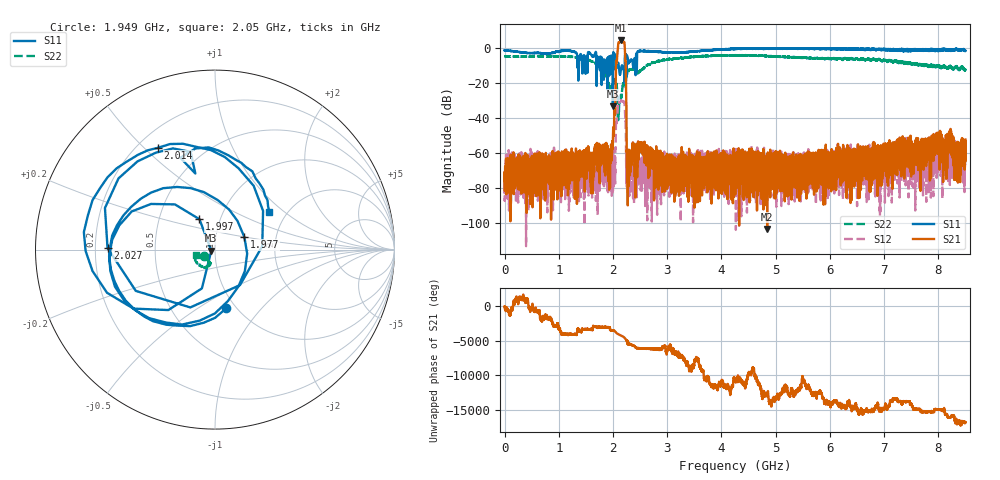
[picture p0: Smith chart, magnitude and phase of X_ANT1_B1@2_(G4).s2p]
#  HZ  S  RI  R  50.00
! Rohde & Schwarz Vector Network Analyzer
! Rohde-Schwarz,ZNBT8-20Port,1318700624101681,3.50
! Created: UTC 7/15/2025, 2:08:06 PM
! freq[Hz]  re:S1010  im:S1010  re:S0510  im:S0510  re:S1005  im:S1005  re:S55  im:S55
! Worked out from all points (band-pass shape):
!   8500 points, 1 MHz to 8.5 GHz, reference 50 ohm
!   highest |S21| = 4.08 dB at 2.145 GHz (marker M1); lowest = -103.5 dB at 4.844 GHz (marker M2)
!   |S21| within 3 dB of the highest: 2.093 GHz to 2.216 GHz (122.4 MHz wide, 5.68 % of centre)
!   lowest |S11| = -33.5 dB at 1.998 GHz (marker M3), VSWR 1.04, Z = 48 - j0.517 ohm
!   |S11| at or under -10 dB: 2.053 GHz to 2.083 GHz (30.46 MHz wide, 1.47 % of centre); 2.106 GHz to 2.214 GHz (108.6 MHz wide, 5.03 % of centre); 2.369 GHz to 2.383 GHz (14.74 MHz wide, 0.62 % of centre)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
!   |S22| runs from -41.4 to -4.2 dB; largest |S21 - S12| = 1.6
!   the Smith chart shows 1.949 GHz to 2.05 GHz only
!   S11 on the Smith chart (normalised r, x): 1.949 GHz: 0.91, -0.66; 1.977 GHz: 1.37, +0.20; 1.997 GHz: 0.80, +0.28; 2.014 GHz: 0.28, +0.55; 2.027 GHz: 0.25, +0.01; 2.05 GHz: 1.64, +0.78
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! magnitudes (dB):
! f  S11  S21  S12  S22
! 1 MHz  -1.6  -73.0  -71.5  -5.1
! 1.418 GHz  -5.0  -69.3  -68.2  -6.0
! 1.949 GHz  -9.6  -63.4  -68.5  -23.3
! 1.977 GHz  -15.0  -61.9  -84.5  -22.9
! 1.997 GHz  -14.4  -55.4  -70.1  -20.8
! 1.998 GHz  -33.5  -50.2  -72.5  -20.6
! 2.014 GHz  -3.7  -50.2  -62.6  -19.3
! 2.027 GHz  -4.5  -33.0  -63.9  -18.2
! 2.05 GHz  -8.7  -19.8  -51.8  -19.2
! 2.093 GHz  -8.5  1.0  -33.6  -37.5
! 2.145 GHz  -13.1  4.1  -30.2  -27.6
! 2.205 GHz  -14.0  3.1  -31.1  -19.6
! 2.295 GHz  -8.3  -73.5  -67.7  -13.2
! 2.515 GHz  -1.9  -55.7  -66.9  -12.8
! 2.834 GHz  -2.5  -61.1  -63.6  -7.7
! 4.251 GHz  -0.6  -62.7  -63.5  -4.4
! 4.844 GHz  -0.5  -103.5  -73.8  -4.7
! 5.667 GHz  -0.4  -73.2  -62.9  -6.1
! 7.084 GHz  -1.1  -61.6  -71.6  -7.2
! 8.208 GHz  -1.8  -54.9  -62.6  -10.7
! 8.368 GHz  -1.4  -57.8  -56.2  -12.3
! 8.5 GHz  -1.8  -52.5  -57.4  -12.6
